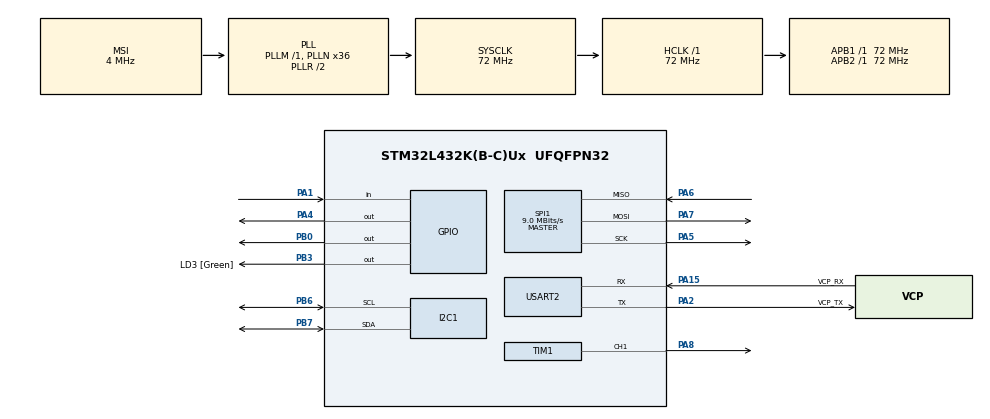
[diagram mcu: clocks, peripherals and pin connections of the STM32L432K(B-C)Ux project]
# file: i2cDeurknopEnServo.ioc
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I2C1.CustomTiming=Disabled
I2C1.OwnAddress=0x12
I2C1.Timing=0x10C18DCC
Mcu.Family=STM32L4
Mcu.Name=STM32L432K(B-C)Ux
Mcu.Package=UFQFPN32
NVIC.I2C1_ER_IRQn=true\:0\:0\:false\:false\:true\:true\:true\:true
NVIC.I2C1_EV_IRQn=true\:0\:0\:false\:false\:true\:true\:true\:true
NVIC.PriorityGroup=NVIC_PRIORITYGROUP_4
PA0.GPIO_Label=MCO [High speed clock in]
PA0.Mode=HSE-External-Clock-Source-for-LittleOrca
PA0.Signal=RCC_CK_IN
PA1.GPIO_PuPd=GPIO_PULLUP
PA1.Signal=GPIO_Input
PA13\ (JTMS-SWDIO).GPIO_Label=SWDIO
PA13\ (JTMS-SWDIO).Mode=Serial_Wire
PA13\ (JTMS-SWDIO).Signal=SYS_JTMS-SWDIO
PA14\ (JTCK-SWCLK).GPIO_Label=SWCLK
PA14\ (JTCK-SWCLK).Mode=Serial_Wire
PA14\ (JTCK-SWCLK).Signal=SYS_JTCK-SWCLK
PA15\ (JTDI).GPIO_Label=VCP_RX
PA15\ (JTDI).Mode=Asynchronous
PA15\ (JTDI).Signal=USART2_RX
PA2.GPIO_Label=VCP_TX
PA2.Mode=Asynchronous
PA2.Signal=USART2_TX
PA4.Signal=GPIO_Output
PA5.Mode=Full_Duplex_Master
PA5.Signal=SPI1_SCK
PA6.Mode=Full_Duplex_Master
PA6.Signal=SPI1_MISO
PA7.Mode=Full_Duplex_Master
PA7.Signal=SPI1_MOSI
PA8.Signal=S_TIM1_CH1
PB0.Signal=GPIO_Output
PB3\ (JTDO-TRACESWO).GPIO_Label=LD3 [Green]
PB3\ (JTDO-TRACESWO).Signal=GPIO_Output
PB6.Mode=I2C
PB6.Signal=I2C1_SCL
PB7.Mode=I2C
PB7.Signal=I2C1_SDA
PC14-OSC32_IN\ (PC14).Mode=LSE-External-Oscillator
PC14-OSC32_IN\ (PC14).Signal=RCC_OSC32_IN
PC15-OSC32_OUT\ (PC15).Mode=LSE-External-Oscillator
PC15-OSC32_OUT\ (PC15).Signal=RCC_OSC32_OUT
ProjectManager.HeapSize=0x200
ProjectManager.StackSize=0x400
ProjectManager.TargetToolchain=STM32CubeIDE
RCC.AHBFreq_Value=72000000
RCC.APB1Freq_Value=72000000
RCC.APB1TimFreq_Value=72000000
RCC.APB2Freq_Value=72000000
RCC.APB2TimFreq_Value=72000000
RCC.CortexFreq_Value=72000000
RCC.HCLKFreq_Value=72000000
RCC.HSE_VALUE=8000000
RCC.HSI16_VALUE=16000000
RCC.HSI48_VALUE=48000000
RCC.HSI_VALUE=16000000
RCC.MSI_VALUE=4000000
RCC.PLLMUL=RCC_PLLMUL_4
RCC.PLLN=36
RCC.SYSCLKFreq_VALUE=72000000
RCC.SYSCLKSource=RCC_SYSCLKSOURCE_PLLCLK
RCC.VCOOutputFreq_Value=144000000
SH.S_TIM1_CH1.0=TIM1_CH1,PWM Generation1 CH1
SPI1.BaudRatePrescaler=SPI_BAUDRATEPRESCALER_8
SPI1.CalculateBaudRate=9.0 MBits/s
SPI1.DataSize=SPI_DATASIZE_8BIT
SPI1.Direction=SPI_DIRECTION_2LINES
SPI1.Mode=SPI_MODE_MASTER
SPI1.VirtualType=VM_MASTER
TIM1.Channel-PWM\ Generation1\ CH1=TIM_CHANNEL_1
TIM1.Period=20000
TIM1.Prescaler=72-1
USART2.VirtualMode-Asynchronous=VM_ASYNC
board=NUCLEO-L432KC

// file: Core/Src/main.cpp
/* USER CODE BEGIN Header */
/**
  ******************************************************************************
  * @file           : main.c
  * @brief          : Main program body
  ******************************************************************************
  * @attention
  *
  * Copyright (c) 2025 STMicroelectronics.
  * All rights reserved.
  *
  * This software is licensed under terms that can be found in the LICENSE file
  * in the root directory of this software component.
  * If no LICENSE file comes with this software, it is provided AS-IS.
  *
  ******************************************************************************
  */
/* USER CODE END Header */
#include "main.h"

/* USER CODE BEGIN Includes */
#include "i2cBeheer.hpp"
#include "noodknop.h"
#include "lamp.h"
#include "alleDefines.h"
#include <vector>
#include <RFIDSensor.hpp>
#include "deurknop.h"
#include "deurServo.h"
#include "deurServoTest.h"
#include <cstdio>

/* USER CODE END Includes */

I2C_HandleTypeDef hi2c1;

SPI_HandleTypeDef hspi1;

TIM_HandleTypeDef htim1;

UART_HandleTypeDef huart2;

/* USER CODE BEGIN PV */
I2CBeheer i2c;
deurServotest servo(&htim1);

/* USER CODE END PV */

void SystemClock_Config(void);
static void MX_GPIO_Init(void);
static void MX_USART2_UART_Init(void);
static void MX_I2C1_Init(void);
static void MX_TIM1_Init(void);
static void MX_SPI1_Init(void);

int main(void)
{

  /* MCU Configuration--------------------------------------------------------*/

  /* Reset of all peripherals, Initializes the Flash interface and the Systick. */
  HAL_Init();

  /* Configure the system clock */
  SystemClock_Config();

  /* Initialize all configured peripherals */
  MX_GPIO_Init();
  MX_USART2_UART_Init();
  MX_I2C1_Init();
  MX_TIM1_Init();
  MX_SPI1_Init();
  /* USER CODE BEGIN 2 */
  HAL_I2C_EnableListen_IT(&hi2c1);
  noodknop nk;
    lamp gl;
    deurknop dk;

    //deurServo ds;
    //RFIDSensor rfid;
    //rfid.init();
   	HAL_TIM_PWM_Start(&htim1, TIM_CHANNEL_1);

//    std::vector<uint8_t> Ids = { DEURKNOP, RFIDSENSOR, DEUR};
//    i2c.I2CInit(Ids, &rfid, &dk,&servo);

   	 std::vector<uint8_t> Ids = { DEURKNOP, DEUR};
   	 i2c.I2CInit(Ids, &dk, &gl, &servo);
   	 char buffer[512];
   	 //servo.zetAan();

  /* USER CODE END 2 */

  /* Infinite loop */
  while (1)
  {

    /* USER CODE BEGIN 3 */
	  //rfid.poll();
	   dk.poll();
	   servo.update();
//	   int len = snprintf(buffer, sizeof buffer,"\r\ngrondsensor: 341\r\n");
//	   HAL_UART_Transmit(&huart2, (uint8_t *)buffer, len, HAL_MAX_DELAY);
//	   len = snprintf(buffer, sizeof buffer,"Gestuurd naar server: set grondsensor 341\r\n");
//	  	   HAL_UART_Transmit(&huart2, (uint8_t *)buffer, len, HAL_MAX_DELAY);
//	   HAL_Delay(250);
  }
  /* USER CODE END 3 */
}

void SystemClock_Config(void)
{
  RCC_OscInitTypeDef RCC_OscInitStruct = {0};
  RCC_ClkInitTypeDef RCC_ClkInitStruct = {0};

  /** Configure the main internal regulator output voltage
  */
  if (HAL_PWREx_ControlVoltageScaling(PWR_REGULATOR_VOLTAGE_SCALE1) != HAL_OK)
  {
    Error_Handler();
  }

  /** Configure LSE Drive Capability
  */
  HAL_PWR_EnableBkUpAccess();
  __HAL_RCC_LSEDRIVE_CONFIG(RCC_LSEDRIVE_LOW);

  /** Initializes the RCC Oscillators according to the specified parameters
  * in the RCC_OscInitTypeDef structure.
  */
  RCC_OscInitStruct.OscillatorType = RCC_OSCILLATORTYPE_LSE|RCC_OSCILLATORTYPE_MSI;
  RCC_OscInitStruct.LSEState = RCC_LSE_ON;
  RCC_OscInitStruct.MSIState = RCC_MSI_ON;
  RCC_OscInitStruct.MSICalibrationValue = 0;
  RCC_OscInitStruct.MSIClockRange = RCC_MSIRANGE_6;
  RCC_OscInitStruct.PLL.PLLState = RCC_PLL_ON;
  RCC_OscInitStruct.PLL.PLLSource = RCC_PLLSOURCE_MSI;
  RCC_OscInitStruct.PLL.PLLM = 1;
  RCC_OscInitStruct.PLL.PLLN = 36;
  RCC_OscInitStruct.PLL.PLLP = RCC_PLLP_DIV7;
  RCC_OscInitStruct.PLL.PLLQ = RCC_PLLQ_DIV2;
  RCC_OscInitStruct.PLL.PLLR = RCC_PLLR_DIV2;
  if (HAL_RCC_OscConfig(&RCC_OscInitStruct) != HAL_OK)
  {
    Error_Handler();
  }

  /** Initializes the CPU, AHB and APB buses clocks
  */
  RCC_ClkInitStruct.ClockType = RCC_CLOCKTYPE_HCLK|RCC_CLOCKTYPE_SYSCLK
                              |RCC_CLOCKTYPE_PCLK1|RCC_CLOCKTYPE_PCLK2;
  RCC_ClkInitStruct.SYSCLKSource = RCC_SYSCLKSOURCE_PLLCLK;
  RCC_ClkInitStruct.AHBCLKDivider = RCC_SYSCLK_DIV1;
  RCC_ClkInitStruct.APB1CLKDivider = RCC_HCLK_DIV1;
  RCC_ClkInitStruct.APB2CLKDivider = RCC_HCLK_DIV1;

  if (HAL_RCC_ClockConfig(&RCC_ClkInitStruct, FLASH_LATENCY_4) != HAL_OK)
  {
    Error_Handler();
  }

  /** Enable MSI Auto calibration
  */
  HAL_RCCEx_EnableMSIPLLMode();
}

static void MX_I2C1_Init(void)
{

  hi2c1.Instance = I2C1;
  hi2c1.Init.Timing = 0x10C18DCC;
  hi2c1.Init.OwnAddress1 = 36;
  hi2c1.Init.AddressingMode = I2C_ADDRESSINGMODE_7BIT;
  hi2c1.Init.DualAddressMode = I2C_DUALADDRESS_DISABLE;
  hi2c1.Init.OwnAddress2 = 0;
  hi2c1.Init.OwnAddress2Masks = I2C_OA2_NOMASK;
  hi2c1.Init.GeneralCallMode = I2C_GENERALCALL_DISABLE;
  hi2c1.Init.NoStretchMode = I2C_NOSTRETCH_DISABLE;
  if (HAL_I2C_Init(&hi2c1) != HAL_OK)
  {
    Error_Handler();
  }

  /** Configure Analogue filter
  */
  if (HAL_I2CEx_ConfigAnalogFilter(&hi2c1, I2C_ANALOGFILTER_ENABLE) != HAL_OK)
  {
    Error_Handler();
  }

  /** Configure Digital filter
  */
  if (HAL_I2CEx_ConfigDigitalFilter(&hi2c1, 0) != HAL_OK)
  {
    Error_Handler();
  }

}

static void MX_SPI1_Init(void)
{

  /* SPI1 parameter configuration*/
  hspi1.Instance = SPI1;
  hspi1.Init.Mode = SPI_MODE_MASTER;
  hspi1.Init.Direction = SPI_DIRECTION_2LINES;
  hspi1.Init.DataSize = SPI_DATASIZE_8BIT;
  hspi1.Init.CLKPolarity = SPI_POLARITY_LOW;
  hspi1.Init.CLKPhase = SPI_PHASE_1EDGE;
  hspi1.Init.NSS = SPI_NSS_SOFT;
  hspi1.Init.BaudRatePrescaler = SPI_BAUDRATEPRESCALER_8;
  hspi1.Init.FirstBit = SPI_FIRSTBIT_MSB;
  hspi1.Init.TIMode = SPI_TIMODE_DISABLE;
  hspi1.Init.CRCCalculation = SPI_CRCCALCULATION_DISABLE;
  hspi1.Init.CRCPolynomial = 7;
  hspi1.Init.CRCLength = SPI_CRC_LENGTH_DATASIZE;
  hspi1.Init.NSSPMode = SPI_NSS_PULSE_ENABLE;
  if (HAL_SPI_Init(&hspi1) != HAL_OK)
  {
    Error_Handler();
  }

}

static void MX_TIM1_Init(void)
{

  TIM_MasterConfigTypeDef sMasterConfig = {0};
  TIM_OC_InitTypeDef sConfigOC = {0};
  TIM_BreakDeadTimeConfigTypeDef sBreakDeadTimeConfig = {0};

  htim1.Instance = TIM1;
  htim1.Init.Prescaler = 72-1;
  htim1.Init.CounterMode = TIM_COUNTERMODE_UP;
  htim1.Init.Period = 20000;
  htim1.Init.ClockDivision = TIM_CLOCKDIVISION_DIV1;
  htim1.Init.RepetitionCounter = 0;
  htim1.Init.AutoReloadPreload = TIM_AUTORELOAD_PRELOAD_DISABLE;
  if (HAL_TIM_PWM_Init(&htim1) != HAL_OK)
  {
    Error_Handler();
  }
  sMasterConfig.MasterOutputTrigger = TIM_TRGO_RESET;
  sMasterConfig.MasterOutputTrigger2 = TIM_TRGO2_RESET;
  sMasterConfig.MasterSlaveMode = TIM_MASTERSLAVEMODE_DISABLE;
  if (HAL_TIMEx_MasterConfigSynchronization(&htim1, &sMasterConfig) != HAL_OK)
  {
    Error_Handler();
  }
  sConfigOC.OCMode = TIM_OCMODE_PWM1;
  sConfigOC.Pulse = 0;
  sConfigOC.OCPolarity = TIM_OCPOLARITY_HIGH;
  sConfigOC.OCNPolarity = TIM_OCNPOLARITY_HIGH;
  sConfigOC.OCFastMode = TIM_OCFAST_DISABLE;
  sConfigOC.OCIdleState = TIM_OCIDLESTATE_RESET;
  sConfigOC.OCNIdleState = TIM_OCNIDLESTATE_RESET;
  if (HAL_TIM_PWM_ConfigChannel(&htim1, &sConfigOC, TIM_CHANNEL_1) != HAL_OK)
  {
    Error_Handler();
  }
  sBreakDeadTimeConfig.OffStateRunMode = TIM_OSSR_DISABLE;
  sBreakDeadTimeConfig.OffStateIDLEMode = TIM_OSSI_DISABLE;
  sBreakDeadTimeConfig.LockLevel = TIM_LOCKLEVEL_OFF;
  sBreakDeadTimeConfig.DeadTime = 0;
  sBreakDeadTimeConfig.BreakState = TIM_BREAK_DISABLE;
  sBreakDeadTimeConfig.BreakPolarity = TIM_BREAKPOLARITY_HIGH;
  sBreakDeadTimeConfig.BreakFilter = 0;
  sBreakDeadTimeConfig.Break2State = TIM_BREAK2_DISABLE;
  sBreakDeadTimeConfig.Break2Polarity = TIM_BREAK2POLARITY_HIGH;
  sBreakDeadTimeConfig.Break2Filter = 0;
  sBreakDeadTimeConfig.AutomaticOutput = TIM_AUTOMATICOUTPUT_DISABLE;
  if (HAL_TIMEx_ConfigBreakDeadTime(&htim1, &sBreakDeadTimeConfig) != HAL_OK)
  {
    Error_Handler();
  }
  HAL_TIM_MspPostInit(&htim1);

}

static void MX_USART2_UART_Init(void)
{

  huart2.Instance = USART2;
  huart2.Init.BaudRate = 115200;
  huart2.Init.WordLength = UART_WORDLENGTH_8B;
  huart2.Init.StopBits = UART_STOPBITS_1;
  huart2.Init.Parity = UART_PARITY_NONE;
  huart2.Init.Mode = UART_MODE_TX_RX;
  huart2.Init.HwFlowCtl = UART_HWCONTROL_NONE;
  huart2.Init.OverSampling = UART_OVERSAMPLING_16;
  huart2.Init.OneBitSampling = UART_ONE_BIT_SAMPLE_DISABLE;
  huart2.AdvancedInit.AdvFeatureInit = UART_ADVFEATURE_NO_INIT;
  if (HAL_UART_Init(&huart2) != HAL_OK)
  {
    Error_Handler();
  }

}

static void MX_GPIO_Init(void)
{
  GPIO_InitTypeDef GPIO_InitStruct = {0};

  /* GPIO Ports Clock Enable */
  __HAL_RCC_GPIOC_CLK_ENABLE();
  __HAL_RCC_GPIOA_CLK_ENABLE();
  __HAL_RCC_GPIOB_CLK_ENABLE();

  /*Configure GPIO pin Output Level */
  HAL_GPIO_WritePin(GPIOA, GPIO_PIN_4, GPIO_PIN_RESET);

  /*Configure GPIO pin Output Level */
  HAL_GPIO_WritePin(GPIOB, GPIO_PIN_0|LD3_Pin, GPIO_PIN_RESET);

  /*Configure GPIO pin : PA1 */
  GPIO_InitStruct.Pin = GPIO_PIN_1;
  GPIO_InitStruct.Mode = GPIO_MODE_INPUT;
  GPIO_InitStruct.Pull = GPIO_PULLUP;
  HAL_GPIO_Init(GPIOA, &GPIO_InitStruct);

  /*Configure GPIO pin : PA4 */
  GPIO_InitStruct.Pin = GPIO_PIN_4;
  GPIO_InitStruct.Mode = GPIO_MODE_OUTPUT_PP;
  GPIO_InitStruct.Pull = GPIO_NOPULL;
  GPIO_InitStruct.Speed = GPIO_SPEED_FREQ_LOW;
  HAL_GPIO_Init(GPIOA, &GPIO_InitStruct);

  /*Configure GPIO pins : PB0 LD3_Pin */
  GPIO_InitStruct.Pin = GPIO_PIN_0|LD3_Pin;
  GPIO_InitStruct.Mode = GPIO_MODE_OUTPUT_PP;
  GPIO_InitStruct.Pull = GPIO_NOPULL;
  GPIO_InitStruct.Speed = GPIO_SPEED_FREQ_LOW;
  HAL_GPIO_Init(GPIOB, &GPIO_InitStruct);

}

/* USER CODE BEGIN 4 */
void HAL_SYSTICK_Callback(void) {
    // Call the update method for non-blocking servo control

}

/* USER CODE END 4 */

void Error_Handler(void)
{
  __disable_irq();
  while (1)
  {
  }
}
